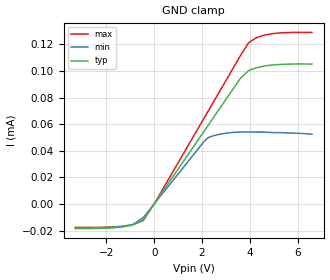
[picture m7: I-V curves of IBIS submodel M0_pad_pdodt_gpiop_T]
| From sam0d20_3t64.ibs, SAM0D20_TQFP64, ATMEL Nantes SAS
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| Submodel
[Submodel]  M0_pad_pdodt_gpiop_T
Submodel_type Dynamic_clamp
[GND Clamp]
| Voltage   I(typ)   I(min)   I(max)
-3.3V     -18.6uA    -17.88uA   -17.58uA
-1.364V   -17.4uA    -16.93uA   -16.93uA
-909.1mV  -15.94uA   -15.68uA   -15.74uA
-454.5mV  -11.7uA    -10.25uA   -12.4uA
0V        13.22pA    6.228pA    323.5pA
2.166V    56.71uA    48.48uA    66.95uA
2.681V    70.21uA    52.14uA    82.88uA
3.627V    94.95uA    54.06uA    112.1uA
3.955V    100.3uA    54.12uA    121.3uA
4.282V    102.4uA    54uA       125.1uA
4.936V    104.5uA    53.64uA    128uA
6.6V      105.1uA    52.45uA    129uA
